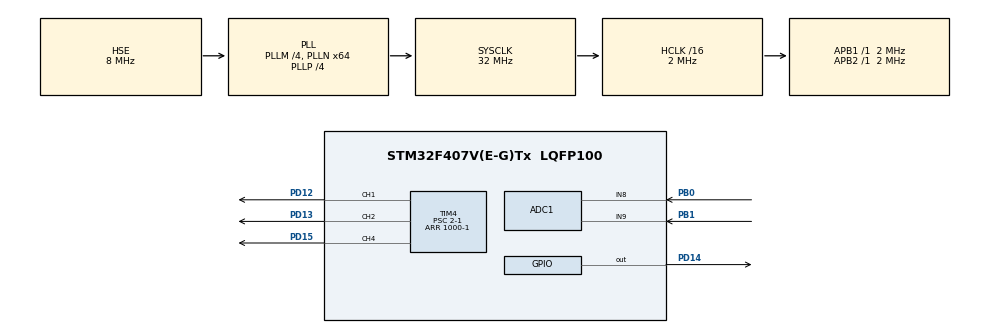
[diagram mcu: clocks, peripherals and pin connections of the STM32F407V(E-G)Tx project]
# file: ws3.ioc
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ADC1.Channel-0\#ChannelRegularConversion=ADC_CHANNEL_TEMPSENSOR
ADC1.Channel-1\#ChannelRegularConversion=ADC_CHANNEL_8
ADC1.Channel-2\#ChannelRegularConversion=ADC_CHANNEL_9
ADC1.ClockPrescaler=ADC_CLOCK_SYNC_PCLK_DIV2
ADC1.ContinuousConvMode=DISABLE
ADC1.DMAContinuousRequests=ENABLE
ADC1.ExternalTrigConv=ADC_SOFTWARE_START
ADC1.ExternalTrigConvEdge=ADC_EXTERNALTRIGCONVEDGE_NONE
ADC1.NbrOfConversion=3
ADC1.NbrOfConversionFlag=1
ADC1.Rank-0\#ChannelRegularConversion=1
ADC1.Rank-1\#ChannelRegularConversion=2
ADC1.Rank-2\#ChannelRegularConversion=3
ADC1.SamplingTime-0\#ChannelRegularConversion=ADC_SAMPLETIME_480CYCLES
ADC1.SamplingTime-1\#ChannelRegularConversion=ADC_SAMPLETIME_480CYCLES
ADC1.SamplingTime-2\#ChannelRegularConversion=ADC_SAMPLETIME_480CYCLES
ADC1.ScanConvMode=ENABLE
ADC1.master=1
Dma.ADC1.0.Direction=DMA_PERIPH_TO_MEMORY
Dma.ADC1.0.FIFOMode=DMA_FIFOMODE_DISABLE
Dma.ADC1.0.Instance=DMA2_Stream0
Dma.ADC1.0.MemDataAlignment=DMA_MDATAALIGN_HALFWORD
Dma.ADC1.0.MemInc=DMA_MINC_ENABLE
Dma.ADC1.0.Mode=DMA_NORMAL
Dma.ADC1.0.PeriphDataAlignment=DMA_PDATAALIGN_HALFWORD
Dma.ADC1.0.PeriphInc=DMA_PINC_DISABLE
Dma.ADC1.0.Priority=DMA_PRIORITY_LOW
Dma.Request0=ADC1
Mcu.Family=STM32F4
Mcu.Name=STM32F407V(E-G)Tx
Mcu.Package=LQFP100
NVIC.ADC_IRQn=true\:0\:0\:false\:false\:true\:true\:true\:true
NVIC.DMA2_Stream0_IRQn=true\:0\:0\:false\:false\:true\:false\:true\:true
NVIC.PriorityGroup=NVIC_PRIORITYGROUP_4
NVIC.TIM3_IRQn=true\:1\:0\:true\:false\:true\:true\:true\:true
NVIC.TIM5_IRQn=true\:1\:0\:true\:false\:true\:true\:true\:true
PB0.Signal=ADCx_IN8
PB1.Signal=ADCx_IN9
PD12.Signal=S_TIM4_CH1
PD13.Signal=S_TIM4_CH2
PD14.Signal=GPIO_Output
PD15.Signal=S_TIM4_CH4
PH0-OSC_IN.Mode=HSE-External-Oscillator
PH0-OSC_IN.Signal=RCC_OSC_IN
PH1-OSC_OUT.Mode=HSE-External-Oscillator
PH1-OSC_OUT.Signal=RCC_OSC_OUT
ProjectManager.HeapSize=0x200
ProjectManager.StackSize=0x400
ProjectManager.TargetToolchain=STM32CubeIDE
RCC.48MHZClocksFreq_Value=32000000
RCC.AHBCLKDivider=RCC_SYSCLK_DIV16
RCC.AHBFreq_Value=2000000
RCC.APB1Freq_Value=2000000
RCC.APB1TimFreq_Value=2000000
RCC.APB2Freq_Value=2000000
RCC.APB2TimFreq_Value=2000000
RCC.CortexFreq_Value=2000000
RCC.HCLKFreq_Value=2000000
RCC.HSE_VALUE=8000000
RCC.HSI_VALUE=16000000
RCC.LSE_VALUE=32768
RCC.PLLM=4
RCC.PLLN=64
RCC.PLLP=RCC_PLLP_DIV4
RCC.PLLSourceVirtual=RCC_PLLSOURCE_HSE
RCC.SYSCLKFreq_VALUE=32000000
RCC.SYSCLKSource=RCC_SYSCLKSOURCE_PLLCLK
RCC.VCOOutputFreq_Value=128000000
SH.ADCx_IN8.0=ADC1_IN8,IN8
SH.ADCx_IN9.0=ADC1_IN9,IN9
SH.S_TIM4_CH1.0=TIM4_CH1,PWM Generation1 CH1
SH.S_TIM4_CH2.0=TIM4_CH2,PWM Generation2 CH2
SH.S_TIM4_CH4.0=TIM4_CH4,PWM Generation4 CH4
TIM3.ClockDivision=TIM_CLOCKDIVISION_DIV1
TIM3.Period=1000-1
TIM3.Prescaler=1
TIM4.Channel-PWM\ Generation1\ CH1=TIM_CHANNEL_1
TIM4.Channel-PWM\ Generation2\ CH2=TIM_CHANNEL_2
TIM4.Channel-PWM\ Generation4\ CH4=TIM_CHANNEL_4
TIM4.Period=1000-1
TIM4.Prescaler=2-1
TIM4.Pulse-PWM\ Generation1\ CH1=500-1
TIM4.Pulse-PWM\ Generation2\ CH2=500-1
TIM4.Pulse-PWM\ Generation4\ CH4=500-1
TIM5.AutoReloadPreload=TIM_AUTORELOAD_PRELOAD_ENABLE
TIM5.Period=500
TIM5.Prescaler=2000
VP_ADC1_TempSens_Input.Mode=IN-TempSens
VP_TIM3_VS_ClockSourceINT.Mode=Internal
VP_TIM4_VS_ClockSourceINT.Mode=Internal
VP_TIM5_VS_ClockSourceINT.Mode=Internal
board=custom

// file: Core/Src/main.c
/* USER CODE BEGIN Header */
/**
  ******************************************************************************
  * @file           : main.c
  * @brief          : Main program body
  ******************************************************************************
  * @attention
  *
  * Copyright (c) 2023 STMicroelectronics.
  * All rights reserved.
  *
  * This software is licensed under terms that can be found in the LICENSE file
  * in the root directory of this software component.
  * If no LICENSE file comes with this software, it is provided AS-IS.
  *
  ******************************************************************************
  */
/* USER CODE END Header */
#include "main.h"

ADC_HandleTypeDef hadc1;
DMA_HandleTypeDef hdma_adc1;

TIM_HandleTypeDef htim3;
TIM_HandleTypeDef htim4;
TIM_HandleTypeDef htim5;

void SystemClock_Config(void);
static void MX_GPIO_Init(void);
static void MX_DMA_Init(void);
static void MX_ADC1_Init(void);
static void MX_TIM4_Init(void);
static void MX_TIM3_Init(void);
static void MX_TIM5_Init(void);
/* USER CODE BEGIN PFP */
static void HandleDataAndUpdate();
/* USER CODE END PFP */

/* USER CODE BEGIN 0 */

volatile uint16_t __attribute__((aligned(2))) ADC_CONV_RES[3];
volatile uint8_t adc_dma_complete = 0;

static float temp_ext_deg;
static float temp_intr_deg;
static float pot_mV;
static uint16_t emergency_status;
static uint32_t dutycycle_percent_ch1 = 50;
static uint32_t dutycycle_percent_ch2 = 50;
static uint32_t dutycycle_percent_ch4 = 50;

/* USER CODE END 0 */

int main(void)
{

  /* MCU Configuration--------------------------------------------------------*/

  /* Reset of all peripherals, Initializes the Flash interface and the Systick. */
  HAL_Init();

  /* Configure the system clock */
  SystemClock_Config();

  /* Initialize all configured peripherals */
  MX_GPIO_Init();
  MX_DMA_Init();
  MX_ADC1_Init();
  MX_TIM4_Init();
  MX_TIM3_Init();
  MX_TIM5_Init();
  /* USER CODE BEGIN 2 */

  HAL_TIM_PWM_Start(&htim4, TIM_CHANNEL_1);
  HAL_TIM_PWM_Start(&htim4, TIM_CHANNEL_2);
  HAL_TIM_PWM_Start(&htim4, TIM_CHANNEL_3);
  HAL_TIM_PWM_Start(&htim4, TIM_CHANNEL_4);
  HAL_TIM_Base_Start_IT(&htim3);
  HAL_TIM_Base_Start_IT(&htim5);

  /* USER CODE END 2 */

  /* Infinite loop */
  /* USER CODE BEGIN WHILE */

  while (1)
  {
	if(adc_dma_complete)
	{
		HandleDataAndUpdate();
	}
    /* USER CODE END WHILE */

  }
}

void SystemClock_Config(void)
{
  RCC_OscInitTypeDef RCC_OscInitStruct = {0};
  RCC_ClkInitTypeDef RCC_ClkInitStruct = {0};

  /** Configure the main internal regulator output voltage
  */
  __HAL_RCC_PWR_CLK_ENABLE();
  __HAL_PWR_VOLTAGESCALING_CONFIG(PWR_REGULATOR_VOLTAGE_SCALE1);

  /** Initializes the RCC Oscillators according to the specified parameters
  * in the RCC_OscInitTypeDef structure.
  */
  RCC_OscInitStruct.OscillatorType = RCC_OSCILLATORTYPE_HSE;
  RCC_OscInitStruct.HSEState = RCC_HSE_ON;
  RCC_OscInitStruct.PLL.PLLState = RCC_PLL_ON;
  RCC_OscInitStruct.PLL.PLLSource = RCC_PLLSOURCE_HSE;
  RCC_OscInitStruct.PLL.PLLM = 4;
  RCC_OscInitStruct.PLL.PLLN = 64;
  RCC_OscInitStruct.PLL.PLLP = RCC_PLLP_DIV4;
  RCC_OscInitStruct.PLL.PLLQ = 4;
  if (HAL_RCC_OscConfig(&RCC_OscInitStruct) != HAL_OK)
  {
    Error_Handler();
  }

  /** Initializes the CPU, AHB and APB buses clocks
  */
  RCC_ClkInitStruct.ClockType = RCC_CLOCKTYPE_HCLK|RCC_CLOCKTYPE_SYSCLK
                              |RCC_CLOCKTYPE_PCLK1|RCC_CLOCKTYPE_PCLK2;
  RCC_ClkInitStruct.SYSCLKSource = RCC_SYSCLKSOURCE_PLLCLK;
  RCC_ClkInitStruct.AHBCLKDivider = RCC_SYSCLK_DIV16;
  RCC_ClkInitStruct.APB1CLKDivider = RCC_HCLK_DIV1;
  RCC_ClkInitStruct.APB2CLKDivider = RCC_HCLK_DIV1;

  if (HAL_RCC_ClockConfig(&RCC_ClkInitStruct, FLASH_LATENCY_0) != HAL_OK)
  {
    Error_Handler();
  }
}

static void MX_ADC1_Init(void)
{

  ADC_ChannelConfTypeDef sConfig = {0};

  /** Configure the global features of the ADC (Clock, Resolution, Data Alignment and number of conversion)
  */
  hadc1.Instance = ADC1;
  hadc1.Init.ClockPrescaler = ADC_CLOCK_SYNC_PCLK_DIV2;
  hadc1.Init.Resolution = ADC_RESOLUTION_12B;
  hadc1.Init.ScanConvMode = ENABLE;
  hadc1.Init.ContinuousConvMode = DISABLE;
  hadc1.Init.DiscontinuousConvMode = DISABLE;
  hadc1.Init.ExternalTrigConvEdge = ADC_EXTERNALTRIGCONVEDGE_NONE;
  hadc1.Init.ExternalTrigConv = ADC_SOFTWARE_START;
  hadc1.Init.DataAlign = ADC_DATAALIGN_RIGHT;
  hadc1.Init.NbrOfConversion = 3;
  hadc1.Init.DMAContinuousRequests = ENABLE;
  hadc1.Init.EOCSelection = ADC_EOC_SINGLE_CONV;
  if (HAL_ADC_Init(&hadc1) != HAL_OK)
  {
    Error_Handler();
  }

  /** Configure for the selected ADC regular channel its corresponding rank in the sequencer and its sample time.
  */
  sConfig.Channel = ADC_CHANNEL_TEMPSENSOR;
  sConfig.Rank = 1;
  sConfig.SamplingTime = ADC_SAMPLETIME_480CYCLES;
  if (HAL_ADC_ConfigChannel(&hadc1, &sConfig) != HAL_OK)
  {
    Error_Handler();
  }

  /** Configure for the selected ADC regular channel its corresponding rank in the sequencer and its sample time.
  */
  sConfig.Channel = ADC_CHANNEL_8;
  sConfig.Rank = 2;
  if (HAL_ADC_ConfigChannel(&hadc1, &sConfig) != HAL_OK)
  {
    Error_Handler();
  }

  /** Configure for the selected ADC regular channel its corresponding rank in the sequencer and its sample time.
  */
  sConfig.Channel = ADC_CHANNEL_9;
  sConfig.Rank = 3;
  if (HAL_ADC_ConfigChannel(&hadc1, &sConfig) != HAL_OK)
  {
    Error_Handler();
  }

}

static void MX_TIM3_Init(void)
{

  TIM_ClockConfigTypeDef sClockSourceConfig = {0};
  TIM_MasterConfigTypeDef sMasterConfig = {0};

  htim3.Instance = TIM3;
  htim3.Init.Prescaler = 1;
  htim3.Init.CounterMode = TIM_COUNTERMODE_UP;
  htim3.Init.Period = 1000-1;
  htim3.Init.ClockDivision = TIM_CLOCKDIVISION_DIV1;
  htim3.Init.AutoReloadPreload = TIM_AUTORELOAD_PRELOAD_DISABLE;
  if (HAL_TIM_Base_Init(&htim3) != HAL_OK)
  {
    Error_Handler();
  }
  sClockSourceConfig.ClockSource = TIM_CLOCKSOURCE_INTERNAL;
  if (HAL_TIM_ConfigClockSource(&htim3, &sClockSourceConfig) != HAL_OK)
  {
    Error_Handler();
  }
  sMasterConfig.MasterOutputTrigger = TIM_TRGO_RESET;
  sMasterConfig.MasterSlaveMode = TIM_MASTERSLAVEMODE_DISABLE;
  if (HAL_TIMEx_MasterConfigSynchronization(&htim3, &sMasterConfig) != HAL_OK)
  {
    Error_Handler();
  }

}

static void MX_TIM4_Init(void)
{

  TIM_ClockConfigTypeDef sClockSourceConfig = {0};
  TIM_MasterConfigTypeDef sMasterConfig = {0};
  TIM_OC_InitTypeDef sConfigOC = {0};

  htim4.Instance = TIM4;
  htim4.Init.Prescaler = 2-1;
  htim4.Init.CounterMode = TIM_COUNTERMODE_UP;
  htim4.Init.Period = 1000-1;
  htim4.Init.ClockDivision = TIM_CLOCKDIVISION_DIV1;
  htim4.Init.AutoReloadPreload = TIM_AUTORELOAD_PRELOAD_DISABLE;
  if (HAL_TIM_Base_Init(&htim4) != HAL_OK)
  {
    Error_Handler();
  }
  sClockSourceConfig.ClockSource = TIM_CLOCKSOURCE_INTERNAL;
  if (HAL_TIM_ConfigClockSource(&htim4, &sClockSourceConfig) != HAL_OK)
  {
    Error_Handler();
  }
  if (HAL_TIM_PWM_Init(&htim4) != HAL_OK)
  {
    Error_Handler();
  }
  sMasterConfig.MasterOutputTrigger = TIM_TRGO_RESET;
  sMasterConfig.MasterSlaveMode = TIM_MASTERSLAVEMODE_DISABLE;
  if (HAL_TIMEx_MasterConfigSynchronization(&htim4, &sMasterConfig) != HAL_OK)
  {
    Error_Handler();
  }
  sConfigOC.OCMode = TIM_OCMODE_PWM1;
  sConfigOC.Pulse = 500-1;
  sConfigOC.OCPolarity = TIM_OCPOLARITY_HIGH;
  sConfigOC.OCFastMode = TIM_OCFAST_DISABLE;
  if (HAL_TIM_PWM_ConfigChannel(&htim4, &sConfigOC, TIM_CHANNEL_1) != HAL_OK)
  {
    Error_Handler();
  }
  if (HAL_TIM_PWM_ConfigChannel(&htim4, &sConfigOC, TIM_CHANNEL_2) != HAL_OK)
  {
    Error_Handler();
  }
  if (HAL_TIM_PWM_ConfigChannel(&htim4, &sConfigOC, TIM_CHANNEL_4) != HAL_OK)
  {
    Error_Handler();
  }
  HAL_TIM_MspPostInit(&htim4);

}

static void MX_TIM5_Init(void)
{

  TIM_ClockConfigTypeDef sClockSourceConfig = {0};
  TIM_MasterConfigTypeDef sMasterConfig = {0};

  htim5.Instance = TIM5;
  htim5.Init.Prescaler = 2000;
  htim5.Init.CounterMode = TIM_COUNTERMODE_UP;
  htim5.Init.Period = 500;
  htim5.Init.ClockDivision = TIM_CLOCKDIVISION_DIV1;
  htim5.Init.AutoReloadPreload = TIM_AUTORELOAD_PRELOAD_ENABLE;
  if (HAL_TIM_Base_Init(&htim5) != HAL_OK)
  {
    Error_Handler();
  }
  sClockSourceConfig.ClockSource = TIM_CLOCKSOURCE_INTERNAL;
  if (HAL_TIM_ConfigClockSource(&htim5, &sClockSourceConfig) != HAL_OK)
  {
    Error_Handler();
  }
  sMasterConfig.MasterOutputTrigger = TIM_TRGO_RESET;
  sMasterConfig.MasterSlaveMode = TIM_MASTERSLAVEMODE_DISABLE;
  if (HAL_TIMEx_MasterConfigSynchronization(&htim5, &sMasterConfig) != HAL_OK)
  {
    Error_Handler();
  }

}

static void MX_DMA_Init(void)
{

  /* DMA controller clock enable */
  __HAL_RCC_DMA2_CLK_ENABLE();

  /* DMA interrupt init */
  /* DMA2_Stream0_IRQn interrupt configuration */
  HAL_NVIC_SetPriority(DMA2_Stream0_IRQn, 0, 0);
  HAL_NVIC_EnableIRQ(DMA2_Stream0_IRQn);

}

static void MX_GPIO_Init(void)
{
  GPIO_InitTypeDef GPIO_InitStruct = {0};

  /* GPIO Ports Clock Enable */
  __HAL_RCC_GPIOH_CLK_ENABLE();
  __HAL_RCC_GPIOB_CLK_ENABLE();
  __HAL_RCC_GPIOD_CLK_ENABLE();

  /*Configure GPIO pin Output Level */
  HAL_GPIO_WritePin(GPIOD, GPIO_PIN_14, GPIO_PIN_RESET);

  /*Configure GPIO pin : PD14 */
  GPIO_InitStruct.Pin = GPIO_PIN_14;
  GPIO_InitStruct.Mode = GPIO_MODE_OUTPUT_PP;
  GPIO_InitStruct.Pull = GPIO_NOPULL;
  GPIO_InitStruct.Speed = GPIO_SPEED_FREQ_LOW;
  HAL_GPIO_Init(GPIOD, &GPIO_InitStruct);

}

/* USER CODE BEGIN 4 */
static void UpdateEmergencyStatus()
{
	emergency_status = (temp_intr_deg >= HIGH_TEMP_deg) + (temp_ext_deg >= HIGH_TEMP_deg) + (pot_mV >= HighVoltage_mV);

	switch(emergency_status)
	{
		case 1:
			TIM5->CR1 = TIM5->CR1 | TIM_CEN_bit;
			TIM5->ARR = CLK_FREQ/(TIM5->PSC * EMGCY_CaseOne_Hz);
			break;
		case 2:
			TIM5->CR1 = TIM5->CR1 | TIM_CEN_bit;
			TIM5->ARR = CLK_FREQ/(TIM5->PSC * EMGCY_CaseTwo_Hz);
			break;
		case 3:
			TIM5->CR1 = TIM5->CR1 | TIM_CEN_bit;
			TIM5->ARR = CLK_FREQ/(TIM5->PSC * EMGCY_CaseThree_Hz);
			__HAL_RCC_TIM5_CLK_ENABLE();
			break;
		default:
			TIM5->CR1 = TIM5->CR1 - (TIM5->CR1 & TIM_CEN_bit);
			TIM5->CNT = 0;
			HAL_GPIO_WritePin(GPIOD, GPIO_PIN_14, GPIO_PIN_RESET);
			return;
	}
}
static void CalcDutyCycles()
{
	dutycycle_percent_ch1 = ((temp_intr_deg - MIN_TEMP_deg)/TEMP_INTERVAL_deg) * 100;
	dutycycle_percent_ch2 = (pot_mV/Vdd_mV) * 100;
	dutycycle_percent_ch4 = ((temp_ext_deg - MIN_TEMP_deg)/TEMP_INTERVAL_deg) * 100;
}
static void UpdateDutyCycles()
{
	TIM4->CCR1 = (TIM4->ARR + 1) * dutycycle_percent_ch1/100;
	TIM4->CCR2 = (TIM4->ARR + 1) * dutycycle_percent_ch2/100;
	TIM4->CCR4 = (TIM4->ARR + 1) * dutycycle_percent_ch4/100;
}
static void HandleDataAndUpdate()
{
	temp_intr_deg	= 	Tcurr_INTR_deg(ADC_CONV_RES[0]);
	temp_ext_deg	=	Tcurr_EXT_deg(ADC_CONV_RES[2]);
	pot_mV 			= 	INP_mV(ADC_CONV_RES[1]);

	CalcDutyCycles();
	UpdateDutyCycles();
	UpdateEmergencyStatus();
}
void HAL_TIM_PeriodElapsedCallback(TIM_HandleTypeDef* htim)
{
	if(htim->Instance == TIM2)
	{
		HAL_ADC_Start_DMA(&hadc1, (uint32_t*)&ADC_CONV_RES[0], 3);
		adc_dma_complete = 0;\
	}
}
void HAL_ADC_ConvCpltCallback(ADC_HandleTypeDef* hadc)
{
    if (hadc == &hadc1) {
        HAL_ADC_Stop(&hadc1);
        HandleDataAndUpdate();
    }
}

/* USER CODE END 4 */

void Error_Handler(void)
{
  __disable_irq();
  while (1)
  {
  }
}
